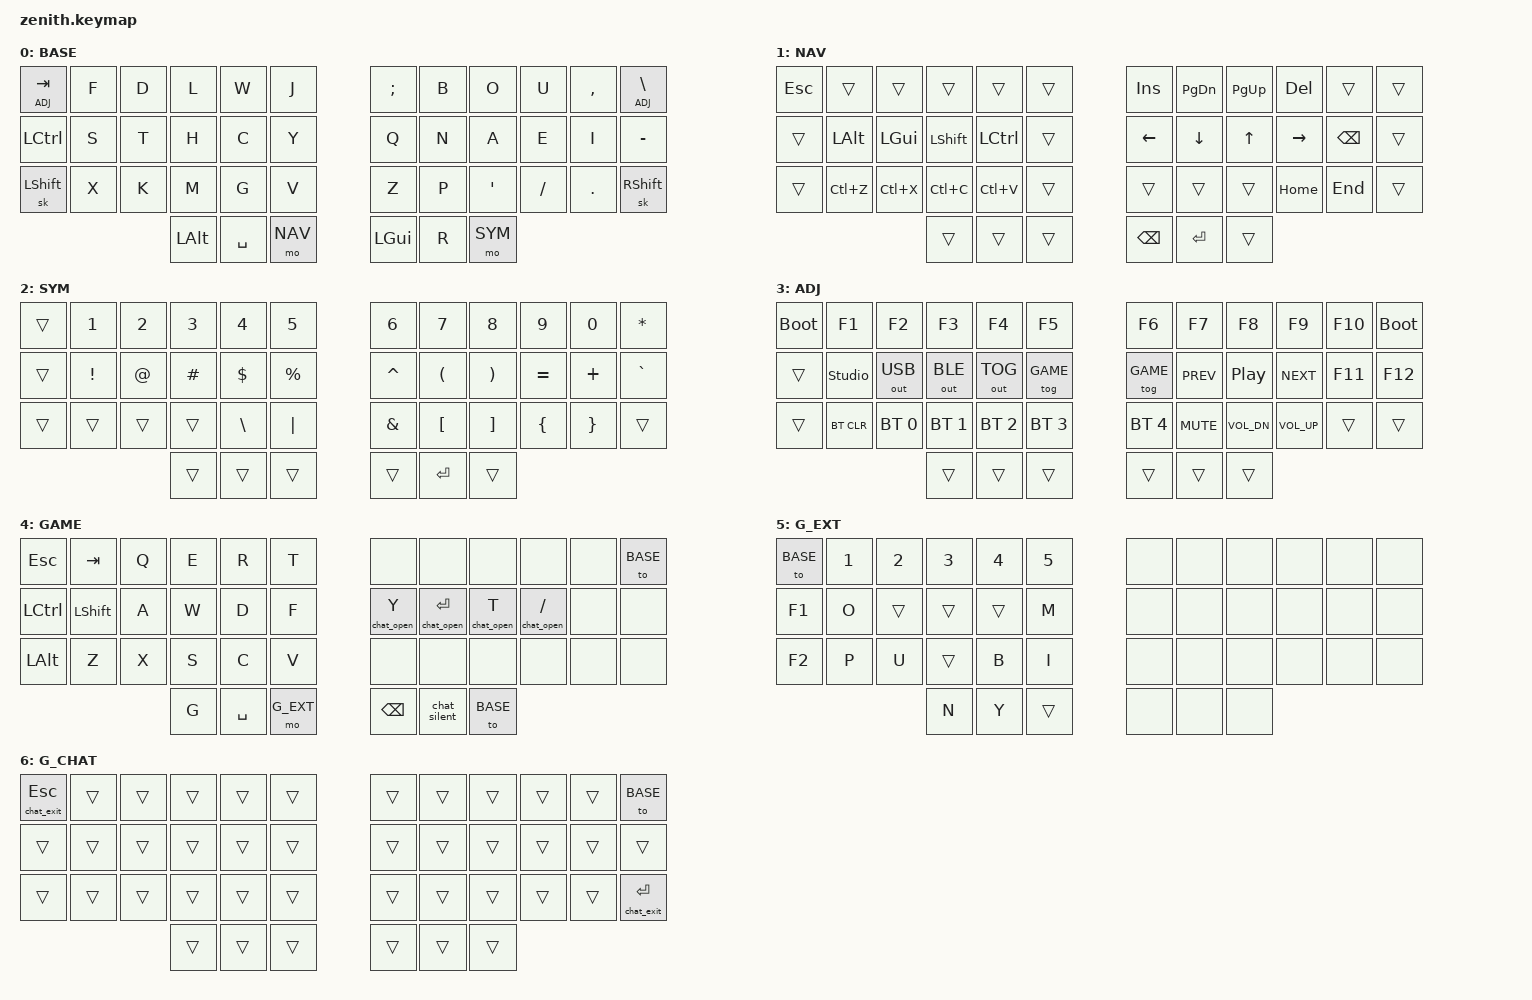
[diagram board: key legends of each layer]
/*
 * ZENITH 42-KEY — RACKET (BY GALILEOBLUES) + GAME & CHAT LAUNCHPAD
 *
 * Matrix / Binding Order:
 *   00 01 02 03 04 05     06 07 08 09 10 11
 *   12 13 14 15 16 17     18 19 20 21 22 23
 *   24 25 26 27 28 29     30 31 32 33 34 35
 *            36 37 38     39 40 41
 */

#include <behaviors.dtsi>
#include <dt-bindings/zmk/keys.h>
#include <dt-bindings/zmk/bt.h>
#include <dt-bindings/zmk/outputs.h>

#define BASE   0
#define NAV    1
#define SYM    2
#define ADJ    3
#define GAME   4
#define G_EXT  5
#define G_CHAT 6

&mt {
    flavor = "tap-preferred";
    tapping-term-ms = <200>;
    quick-tap-ms = <175>;
    require-prior-idle-ms = <125>;
};

&lt {
    flavor = "balanced";
    tapping-term-ms = <200>;
    quick-tap-ms = <175>;
};

&sk {
    release-after-ms = <1000>;
    quick-release;
    /delete-property/ ignore-modifiers;
};

/ {
    conditional_layers {
        compatible = "zmk,conditional-layers";

        nav_sym_adjust {
            if-layers = <NAV SYM>;
            then-layer = <ADJ>;
        };
    };

macros {
        /*
         * 1. Opens in-game chat with a specific key (RET, T, Y, FSLH),
         *    disables GAME (exposing BASE/NAV/SYM), and enables G_CHAT interceptor.
         */
        chat_open: chat_open {
            compatible = "zmk,behavior-macro-one-param";
            #binding-cells = <1>;
            wait-ms = <30>;
            tap-ms = <10>;
            bindings
                = <&macro_param_1to1>
                , <&kp MACRO_PLACEHOLDER>
                , <&tog GAME>
                , <&tog G_CHAT>
                ;
        };

        /*
         * 2. Enters typing mode WITHOUT firing a hotkey first
         *    (for clicking into inventory search bars, map markers, or Steam overlay).
         */
        chat_silent: chat_silent {
            compatible = "zmk,behavior-macro";
            #binding-cells = <0>;
            wait-ms = <10>;
            tap-ms = <10>;
            bindings = <&tog GAME &tog G_CHAT>;
        };

        /*
         * 3. Sends RET or ESC to close the in-game chat box,
         *    disables G_CHAT, and immediately re-engages GAME mode.
         */
        chat_exit: chat_exit {
            compatible = "zmk,behavior-macro-one-param";
            #binding-cells = <1>;
            wait-ms = <10>;
            tap-ms = <10>;
            bindings
                = <&macro_param_1to1>
                , <&kp MACRO_PLACEHOLDER>
                , <&tog G_CHAT>
                , <&tog GAME>
                ;
        };
    };

    keymap {
        compatible = "zmk,keymap";

        /*
         * Layer 0: BASE (Racket by GalileoBlues)
         *
         * Tab/ADJ   F    D    L    W    J      ;    B    O    U    ,    \/ADJ
         * Ctrl      S    T    H    C    Y      Q    N    A    E    I    -
         * sk(Shft)  X    K    M    G    V      Z    P    '    /    .    sk(Shft)
         *                     Alt  Spc  NAV    GUI  R    SYM
         */
        base_layer {
            display-name = "BASE";
            bindings = <
                &lt ADJ TAB  &kp F  &kp D  &kp L     &kp W      &kp J        &kp SEMI  &kp B  &kp O    &kp U     &kp COMMA  &lt ADJ BSLH
                &kp LCTRL    &kp S  &kp T  &kp H     &kp C      &kp Y        &kp Q     &kp N  &kp A    &kp E     &kp I      &kp MINUS
                &sk LSHFT    &kp X  &kp K  &kp M     &kp G      &kp V        &kp Z     &kp P  &kp SQT  &kp FSLH  &kp DOT    &sk RSHFT
                                           &kp LALT  &kp SPACE  &mo NAV      &kp LGUI  &kp R  &mo SYM
            >;
        };

        /*
         * Layer 1: NAV
         *
         * Esc   ---   ---   ---   ---   ---      Ins   PgDn  PgUp  Del    ---   ---
         * ---   Alt   GUI   Shft  Ctrl  ---      Left  Down  Up    Right  Bksp  ---
         * ---   Undo  Cut   Copy  Pste  ---      ---   ---   ---   Home   End   ---
         *                   ---   ---   ---      Bksp  Ret   ---
         */
        nav_layer {
            display-name = "NAV";
            bindings = <
                &kp ESC  &trans     &trans     &trans     &trans     &trans       &kp INS   &kp PG_DN  &kp PG_UP  &kp DEL    &trans    &trans
                &trans   &kp LALT   &kp LGUI   &kp LSHFT  &kp LCTRL  &trans       &kp LEFT  &kp DOWN   &kp UP     &kp RIGHT  &kp BSPC  &trans
                &trans   &kp LC(Z)  &kp LC(X)  &kp LC(C)  &kp LC(V)  &trans       &trans    &trans     &trans     &kp HOME   &kp END   &trans
                                               &trans     &trans     &trans       &kp BSPC  &kp RET    &trans
            >;
        };

        /*
         * Layer 2: SYM
         *
         * ---   1    2    3    4    5      6    7    8    9    0    *
         * ---   !    @    #    $    %      ^    (    )    =    +    `
         * ---   ---  ---  ---  \    |      &    [    ]    {    }    ---
         *                 ---  ---  ---    ---  Ret  ---
         */
        sym_layer {
            display-name = "SYM";
            bindings = <
                &trans  &kp N1    &kp N2  &kp N3    &kp N4    &kp N5         &kp N6     &kp N7    &kp N8    &kp N9     &kp N0    &kp ASTRK
                &trans  &kp EXCL  &kp AT  &kp HASH  &kp DLLR  &kp PRCNT      &kp CARET  &kp LPAR  &kp RPAR  &kp EQUAL  &kp PLUS  &kp GRAVE
                &trans  &trans    &trans  &trans    &kp BSLH  &kp PIPE       &kp AMPS   &kp LBKT  &kp RBKT  &kp LBRC   &kp RBRC  &trans
                                          &trans    &trans    &trans         &trans     &kp RET   &trans
            >;
        };

        /*
         * Layer 3: ADJ — Active while NAV + SYM are held (or holding 00 / 11)
         *
         * Added &tog GAME on Pos 17 (Left Inner Home) and Pos 18 (Right Inner Home)
         * so you have a dedicated button to enter GAME mode from BASE.
         *
         * Boot   F1     F2    F3    F4    F5       F6    F7      F8        F9        F10   Boot
         * ---    Unlck  USB   BLE   Tog   GAME     GAME  Prev    Play/Pse  Next      F11   F12
         * ---    btclr  bt0   bt1   bt2   bt3      bt4   Mute    VolDn     VolUp     ---   ---
         *                     ---   ---   ---      ---   ---     ---
         */
        adjust_layer {
            display-name = "ADJ";
            bindings = <
                &bootloader  &kp F1          &kp F2        &kp F3        &kp F4        &kp F5            &kp F6        &kp F7      &kp F8        &kp F9        &kp F10  &bootloader
                &trans       &studio_unlock  &out OUT_USB  &out OUT_BLE  &out OUT_TOG  &tog GAME         &tog GAME     &kp C_PREV  &kp C_PP      &kp C_NEXT    &kp F11  &kp F12
                &trans       &bt BT_CLR      &bt BT_SEL 0  &bt BT_SEL 1  &bt BT_SEL 2  &bt BT_SEL 3      &bt BT_SEL 4  &kp C_MUTE  &kp C_VOL_DN  &kp C_VOL_UP  &trans   &trans
                                                           &trans        &trans        &trans            &trans        &trans      &trans
            >;
        };

        /*
         * Layer 4: GAME — Left-Half Gaming + Right-Half Chat Launchpad
         *
         * Left Half:  0ms pure &kp bindings (Ring=A, Middle=W, Index=D, Pos 27=S)
         * Right Half: Chat Launchpad
         *   - Pos 18 (Q pos):  Chat via Y     (&chat_open Y)
         *   - Pos 19 (N pos):  Chat via ENTER (&chat_open RET)  <-- Right Index Home
         *   - Pos 20 (A pos):  Chat via T     (&chat_open T)    <-- Right Middle Home
         *   - Pos 21 (E pos):  Chat via /     (&chat_open FSLH) <-- Right Ring Home
         *   - Pos 39 (GUI):    Backspace      (&kp BSPC)
         *   - Pos 40 (R pos):  Silent Chat    (&chat_silent - for search bars/menus)
         *   - Pos 11 / 41:     Hard Exit GAME (&to BASE)
         */
        game_layer {
            display-name = "GAME";
            bindings = <
                &kp ESC    &kp TAB    &kp Q  &kp E  &kp R      &kp T          &none     &none           &none         &none            &none  &to BASE
                &kp LCTRL  &kp LSHFT  &kp A  &kp W  &kp D      &kp F          &chat_open Y  &chat_open RET  &chat_open T  &chat_open FSLH  &none  &none
                &kp LALT   &kp Z      &kp X  &kp S  &kp C      &kp V          &none     &none           &none         &none            &none  &none
                                             &kp G  &kp SPACE  &mo G_EXT      &kp BSPC  &chat_silent    &to BASE
            >;
        };

        /*
         * Layer 5: G_EXT — Situational / Far-Reach Sub-Layer (Hold Pos 38 in GAME)
         *
         * Exit   1      2      3      4      5          ---  ---  ---  ---  ---  ---
         * F1     O      A      W      D      M (Map)    ---  ---  ---  ---  ---  ---
         * F2     P      U      S      B      I (Inv)    ---  ---  ---  ---  ---  ---
         *                      N      Y      [HELD]     ---  ---  ---
         */
        game_ext_layer {
            display-name = "G_EXT";
            bindings = <
                &to BASE   &kp N1  &kp N2  &kp N3  &kp N4  &kp N5      &none  &none  &none  &none  &none  &none
                &kp F1     &kp O   &trans  &trans  &trans  &kp M       &none  &none  &none  &none  &none  &none
                &kp F2     &kp P   &kp U   &trans  &kp B   &kp I       &none  &none  &none  &none  &none  &none
                                           &kp N   &kp Y   &trans      &none  &none  &none
            >;
        };

        /*
         * Layer 6: G_CHAT — Transparent Chat Interceptor
         *
         * Active ONLY while typing an in-game message.
         * Because &chat_open turns GAME off, all &trans keys fall straight through
         * to BASE (Racket), NAV, and SYM!
         *
         *   - Pos 00 (Top-Left Pinky):     Sends ESC + Returns to GAME
         *   - Pos 11 (Top-Right Pinky):    Panic exit straight to BASE (&to BASE)
         *   - Pos 35 (Bot-Right Pinky):    Sends RET + Returns to GAME
         */
        game_chat_layer {
            display-name = "G_CHAT";
            bindings = <
                &chat_exit ESC  &trans  &trans  &trans  &trans  &trans      &trans  &trans  &trans  &trans  &trans  &to BASE
                &trans          &trans  &trans  &trans  &trans  &trans      &trans  &trans  &trans  &trans  &trans  &trans
                &trans          &trans  &trans  &trans  &trans  &trans      &trans  &trans  &trans  &trans  &trans  &chat_exit RET
                                                &trans  &trans  &trans      &trans  &trans  &trans
            >;
        };
    };
};
